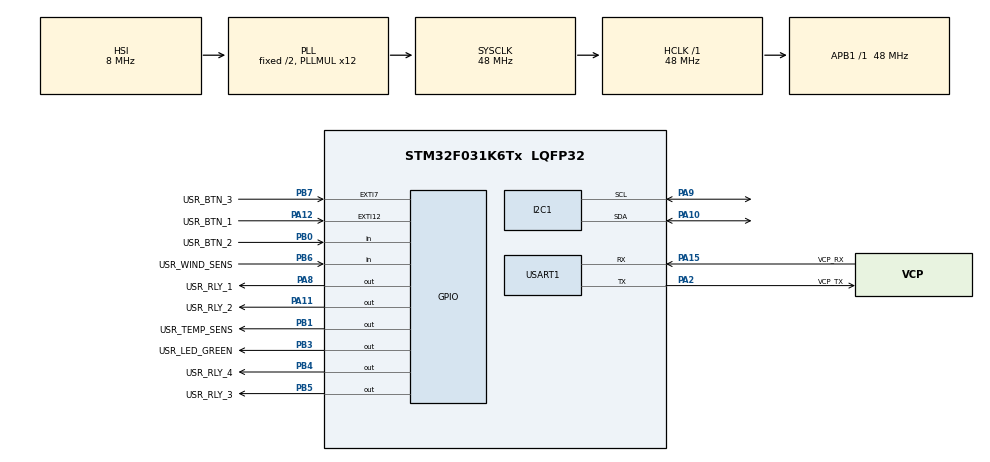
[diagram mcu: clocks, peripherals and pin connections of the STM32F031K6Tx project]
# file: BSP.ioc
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Mcu.Family=STM32F0
Mcu.Name=STM32F031K6Tx
Mcu.Package=LQFP32
NVIC.EXTI4_15_IRQn=true\:0\:0\:false\:false\:true\:true\:true\:true
NVIC.TIM16_IRQn=true\:0\:0\:false\:false\:true\:true\:true\:true
PA10.Mode=I2C
PA10.Signal=I2C1_SDA
PA11.GPIO_Label=USR_RLY_2
PA11.Signal=GPIO_Output
PA12.GPIO_Label=USR_BTN_1
PA12.GPIO_ModeDefaultEXTI=GPIO_MODE_IT_FALLING
PA12.GPIO_PuPd=GPIO_PULLUP
PA12.Signal=GPXTI12
PA13.Mode=Serial_Wire
PA13.Signal=SYS_SWDIO
PA14.Mode=Serial_Wire
PA14.Signal=SYS_SWCLK
PA15.GPIO_Label=VCP_RX
PA15.Mode=Asynchronous
PA15.Signal=USART1_RX
PA2.GPIO_Label=VCP_TX
PA2.Mode=Asynchronous
PA2.Signal=USART1_TX
PA8.GPIO_Label=USR_RLY_1
PA8.GPIO_ModeDefaultOutputPP=GPIO_MODE_OUTPUT_PP
PA8.Signal=GPIO_Output
PA9.Mode=I2C
PA9.Signal=I2C1_SCL
PB0.GPIO_Label=USR_BTN_2
PB0.GPIO_PuPd=GPIO_PULLUP
PB0.Signal=GPIO_Input
PB1.GPIO_Label=USR_TEMP_SENS
PB1.GPIO_PuPd=GPIO_PULLUP
PB1.GPIO_Speed=GPIO_SPEED_FREQ_HIGH
PB1.Signal=GPIO_Output
PB3.GPIO_Label=USR_LED_GREEN
PB3.Signal=GPIO_Output
PB4.GPIO_Label=USR_RLY_4
PB4.Signal=GPIO_Output
PB5.GPIO_Label=USR_RLY_3
PB5.Signal=GPIO_Output
PB6.GPIO_Label=USR_WIND_SENS
PB6.GPIO_PuPd=GPIO_PULLUP
PB6.Signal=GPIO_Input
PB7.GPIO_Label=USR_BTN_3
PB7.GPIO_ModeDefaultEXTI=GPIO_MODE_IT_FALLING
PB7.GPIO_PuPd=GPIO_PULLUP
PB7.Signal=GPXTI7
PF0-OSC_IN.Mode=HSE-External-Clock-Source
PF0-OSC_IN.Signal=RCC_OSC_IN
ProjectManager.HeapSize=0x200
ProjectManager.StackSize=0x400
ProjectManager.TargetToolchain=Makefile
RCC.AHBFreq_Value=48000000
RCC.APB1Freq_Value=48000000
RCC.APB1TimFreq_Value=48000000
RCC.HCLKFreq_Value=48000000
RCC.PLLMUL=RCC_PLL_MUL12
RCC.SYSCLKFreq_VALUE=48000000
RCC.SYSCLKSource=RCC_SYSCLKSOURCE_PLLCLK
TIM16.Period=1000-1
TIM16.Prescaler=48000-1
TIM16.RepetitionCounter=0
USART1.VirtualMode-Asynchronous=VM_ASYNC
VP_TIM16_VS_ClockSourceINT.Mode=Enable_Timer
board=NUCLEO-F031K6

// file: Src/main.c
/* USER CODE BEGIN Header */
/**
  ******************************************************************************
  * @file           : main.c
  * @brief          : Main program body
  ******************************************************************************
  * @attention
  *
  * Copyright (c) 2023 STMicroelectronics.
  * All rights reserved.
  *
  * This software is licensed under terms that can be found in the LICENSE file
  * in the root directory of this software component.
  * If no LICENSE file comes with this software, it is provided AS-IS.
  *
  ******************************************************************************
  */
/* USER CODE END Header */
#include "main.h"

/* USER CODE BEGIN Includes */
#include "application.hpp"
#include <stdio.h>
#include <math.h>
/* USER CODE END Includes */

I2C_HandleTypeDef hi2c1;

TIM_HandleTypeDef htim16;

UART_HandleTypeDef huart1;

/* USER CODE BEGIN PV */

//#define SET_TIME_ENABLE

#ifdef SET_TIME_ENABLE
#define HOURS 12
#define MINUTES 32
#define SECONDS 0
#define YEARS 2023
#define MONTHS 2
#define DAYS 26
#endif

#define M_PI (3.14159265358979323846)  /* pi */
#define TWOPI (M_PI*2)
#define RPD (M_PI/180.)

#define DS3231_I2C_ADDR (0x68U<<1)  /* RTC */
#define GY271_I2C_ADDR (0x0DU<<1)  /* Compass */

// time keeping registers
#define DS3231_TIME_CAL_ADDR        0x00
#define DS3231_ALARM1_ADDR          0x07
#define DS3231_ALARM2_ADDR          0x0B
#define DS3231_CONTROL_ADDR         0x0E
#define DS3231_STATUS_ADDR          0x0F
#define DS3231_AGING_OFFSET_ADDR    0x10
#define DS3231_TEMPERATURE_ADDR     0x11

// control register bits
#define DS3231_CONTROL_A1IE     	0x1		/* Alarm 2 Interrupt Enable */
#define DS3231_CONTROL_A2IE     	0x2		/* Alarm 2 Interrupt Enable */
#define DS3231_CONTROL_INTCN    	0x4		/* Interrupt Control */
#define DS3231_CONTROL_RS1	    	0x8		/* square-wave rate select 2 */
#define DS3231_CONTROL_RS2    		0x10	/* square-wave rate select 2 */
#define DS3231_CONTROL_CONV    		0x20	/* Convert Temperature */
#define DS3231_CONTROL_BBSQW    	0x40	/* Battery-Backed Square-Wave Enable */
#define DS3231_CONTROL_EOSC	    	0x80	/* not Enable Oscillator, 0 equal on */

// status register bits
#define DS3231_STATUS_A1F      		0x01		/* Alarm 1 Flag */
#define DS3231_STATUS_A2F      		0x02		/* Alarm 2 Flag */
#define DS3231_STATUS_BUSY     		0x04		/* device is busy executing TCXO */
#define DS3231_STATUS_EN32KHZ  		0x08		/* Enable 32KHz Output  */
#define DS3231_STATUS_OSF      		0x80		/* Oscillator Stop Flag */

// Compass Data Output Registers
#define GY271_DATA_X_LSB  0x00
#define GY271_DATA_X_MSB  0x01
#define GY271_DATA_Y_LSB  0x02
#define GY271_DATA_Y_MSB  0x03
#define GY271_DATA_Z_LSB  0x04
#define GY271_DATA_Z_MSB  0x05

// Compass Status Register
#define GY271_STATUS_FLAGS  0x06
#define GY271_STATUS_FLAG_DOR (0x01U << 2)
#define GY271_STATUS_FLAG_OVL (0x01U << 1)
#define GY271_STATUS_FLAG_DRDY (0x01U << 0) /* Data Ready Register */

// Compass Control Register
#define GY271_CONTROL_REGISTER_1  0x09
#define GY271_CONTROL_MODE (0x03U << 0) /* 00 standby, 01 cont */
#define GY271_CONTROL_ODR (0x03U << 2) /* 00 10Hz, 01 50Hz, 10 100Hz, 11 200Hz */
#define GY271_CONTROL_RNG (0x03U << 4) /* full scale: 00 2G, 01 8G */
#define GY271_CONTROL_OSR (0x03U << 6) /* over sampling ratio: 00 512, 01 256, 10 128, 11 64 */

#define GY271_CONTROL_REGISTER_2  0x0B

typedef struct ts {
    uint8_t sec;         /* seconds */
    uint8_t min;         /* minutes */
    uint8_t hour;        /* hours */
    uint8_t mday;        /* day of the month */
    uint8_t mon;         /* month */
    int16_t year;        /* year */
    uint8_t wday;        /* day of the week */
    uint8_t yday;        /* day in the year */
    uint8_t isdst;       /* daylight saving time */
    uint8_t year_s;      /* year in short notation*/

}ts;

enum Months {
  JAN,
  FEB,
  MAR,
  APR,
  MAY,
  JUN,
  JUL,
  AUG,
  SEP,
  OCT,
  NOV,
  DEC
};

typedef struct direction {
  int16_t x_dir;
  int16_t y_dir;
  uint8_t angle;
}direction;

// Convert normal decimal numbers to binary coded decimal
uint8_t decToBcd(int val)
{
  return (uint8_t)( (val/10*16) + (val%10) );
}

// Convert binary coded decimal to normal decimal numbers
int bcdToDec(uint8_t val)
{
  return (int)( (val/16*10) + (val%16) );
}

/* function to get the time */
int Get_Time(ts *t)
{
	uint8_t TimeDate[7];        //second,minute,hour,dow,day,month,year
  uint8_t i;
	uint16_t year_full;

	if (HAL_I2C_Mem_Read(&hi2c1, DS3231_I2C_ADDR, DS3231_TIME_CAL_ADDR, 1, TimeDate, 7, 1000) == HAL_OK)
  {
    for (i = 0; i <= 6; i++)
    {
      if (i == 5)
      {
        TimeDate[5] = bcdToDec(TimeDate[i] & 0x1F);
      }
      else
      {
        TimeDate[i] = bcdToDec(TimeDate[i]);
      }
	  }

    year_full = 2000 + TimeDate[6];

    t->sec = TimeDate[0];
    t->min = TimeDate[1];
    t->hour = TimeDate[2];
    t->mday = TimeDate[4];
    t->mon = TimeDate[5];
    t->year = year_full;
    t->wday = TimeDate[3];
    t->year_s = TimeDate[6];

    return 0x01U;
  }
  else
  {
    return 0xFFU;
  }
}

#ifdef SET_TIME_ENABLE
/* function to set the time */
void Set_Time(ts t)
{
    uint8_t i, century;
    century = 0x80;
    t.year_s = t.year - 2000;
    uint8_t TimeDate[7] = { t.sec, t.min, t.hour, t.wday, t.mday, t.mon, t.year_s };

    for (i=0;i<=6;i++)
    	{
    	TimeDate[i] = decToBcd(TimeDate[i]);
    	if(i == 5){TimeDate[5] |= century;}
    	}

    HAL_I2C_Mem_Write(&hi2c1, DS3231_I2C_ADDR, DS3231_TIME_CAL_ADDR, 1, (char*)TimeDate, 7, 1000);
    //i2c_WriteMulti(DS3231_I2C_ADDR,DS3231_TIME_CAL_ADDR,(char*)TimeDate,7);
}
#endif

/* function to set the compass modes */
void Setup_Compass()
{
    uint8_t OSR = 0b00; /* 512 oversampling */
    uint8_t RNG = 0b00; /* 2G full scale */
    uint8_t ODR = 0b00; /* 10Hz */
    uint8_t MODE = 0b01; /* cont */
    uint8_t data[2] = {0, 0};

    HAL_Delay(500);
    data[0] = 0x0A;
    data[1] = 0xC1; /* soft reset */
    HAL_I2C_Master_Transmit(&hi2c1,GY271_I2C_ADDR,data,2,10);

    HAL_Delay(2000);
    data[0] = GY271_CONTROL_REGISTER_2;
    data[1] = 0x01; /* Define Set/Reset period */
    HAL_I2C_Master_Transmit(&hi2c1,GY271_I2C_ADDR,data,2,10);

    HAL_Delay(500);
    data[0] = GY271_CONTROL_REGISTER_1;
    //data[1] = 0x1D;
    data[1] = (OSR<<6) | (RNG<<4) | (ODR<<2) | (MODE<<0);
    HAL_I2C_Master_Transmit(&hi2c1,GY271_I2C_ADDR,data,2,10);
}

/* check if compass data is ready */
int Compass_Data_Ready()
{

  uint8_t reg_val[1];

  if (HAL_I2C_Mem_Read(&hi2c1, GY271_I2C_ADDR, 0x06U, 1, reg_val, 1, 1000) == HAL_OK)
  {
    if (reg_val[0] & GY271_STATUS_FLAG_DRDY)
      return 1;
    else
      return reg_val[0];
  }
  else
    return 0;

}

/* read compass x data */
int Compass_x_read()
{

  uint8_t reg_lsb[1];
  uint16_t lsb;
  uint8_t reg_msb[1];
  uint16_t msb;
  uint32_t buffer;

  HAL_I2C_Mem_Read(&hi2c1, GY271_I2C_ADDR, GY271_DATA_X_LSB, 1, reg_lsb, 1, 1000);
  HAL_I2C_Mem_Read(&hi2c1, GY271_I2C_ADDR, GY271_DATA_X_MSB, 1, reg_msb, 1, 1000);

  lsb = (uint16_t)reg_lsb[0];
  msb = (uint16_t)reg_msb[0];
  msb = msb << 8;
  buffer = (lsb | msb)<<16;

  //buffer = (int)(((0b0000000011111111)&(uint16_t)reg_lsb[0]) | ((0b1111111100000000)&(((uint16_t)reg_msb[0])<<8)));

  return ((int)buffer)>>16;

}

/* read compass y data */
int Compass_y_read()
{

  uint8_t reg_lsb[1];
  uint16_t lsb;
  uint8_t reg_msb[1];
  uint16_t msb;
  uint32_t buffer;

  HAL_I2C_Mem_Read(&hi2c1, GY271_I2C_ADDR, GY271_DATA_Z_LSB, 1, reg_lsb, 1, 1000);
  HAL_I2C_Mem_Read(&hi2c1, GY271_I2C_ADDR, GY271_DATA_Z_MSB, 1, reg_msb, 1, 1000);

  lsb = (uint16_t)reg_lsb[0];
  msb = (uint16_t)reg_msb[0];
  msb = msb << 8;
  buffer = (lsb | msb)<<16;

  //buffer = (int)(((0b0000000011111111)&(uint16_t)reg_lsb[0]) | ((0b1111111100000000)&(((uint16_t)reg_msb[0])<<8)));

  return ((int)buffer)>>16;

}

/* read compass z data */
void Compass_z_read()
{

  uint8_t reg_lsb[1];
  uint8_t reg_msb[1];
  //uint16_t buffer;

  HAL_I2C_Mem_Read(&hi2c1, GY271_I2C_ADDR, GY271_DATA_Y_LSB, 1, reg_lsb, 1, 1000);
  HAL_I2C_Mem_Read(&hi2c1, GY271_I2C_ADDR, GY271_DATA_Y_MSB, 1, reg_msb, 1, 1000);

  //buffer = (((uint16_t)reg_lsb[0]) | (((uint16_t)reg_msb[0])<<8));

  //return buffer;
}

int lastval = 0;

int x_val[10] = {0,0,0,0,0,0,0,0,0,0};
int y_val[10] = {0,0,0,0,0,0,0,0,0,0};
int val_count = 0;

/**
 * C++ version 0.4 char* style "itoa":
 * Written by Lukás Chmela
 * Released under GPLv3.
 */
char* itoa(int value, char* result, int base) {
    // check that the base if valid
    if (base < 2 || base > 36) { *result = '\0'; return result; }

    char* ptr = result, *ptr1 = result, tmp_char;
    int tmp_value;

    do {
        tmp_value = value;
        value /= base;
        *ptr++ = "zyxwvutsrqponmlkjihgfedcba9876543210123456789abcdefghijklmnopqrstuvwxyz" [35 + (tmp_value - value * base)];
    } while ( value );

    // Apply negative sign
    if (tmp_value < 0) *ptr++ = '-';
    *ptr-- = '\0';
    while(ptr1 < ptr) {
        tmp_char = *ptr;
        *ptr--= *ptr1;
        *ptr1++ = tmp_char;
    }
    return result;
}

int read_direction()
{
  int x_dir = 0;
  int y_dir = 0;
  int count = 0;
  double fazi;
  int iazi;
  char msgs[15];

  while(count < 1)
  {
    if(Compass_Data_Ready() == 1)
    {
      //x_dir += (int)((double)((Compass_x_read()) + 33)*1.8181);
      x_dir = Compass_x_read();
      Compass_z_read();
      y_dir = Compass_y_read();
      count++;
      //val_count++;
      //if(val_count > 9) val_count = 0;
    }
  }

  //x_dir = (x_val[0] + x_val[1] + x_val[2] + x_val[3] + x_val[4] + x_val[5] + x_val[6] + x_val[7] + x_val[8] + x_val[9])/10;
  //y_dir = (y_val[0] + y_val[1] + y_val[2] + y_val[3] + y_val[4] + y_val[5] + y_val[6] + y_val[7] + y_val[8] + y_val[9])/10;

      //x_dir = x_dir / 1;
      x_dir = (int)(((double)x_dir + 0.0)*1.0);
      //y_dir = y_dir / 1;
      y_dir = (int)(((double)y_dir - 0.0)*1.0);
      //y_dir = 1000;
      //if (y_dir < lastval) lastval = y_dir;

  //x_dir = Compass_x_read();
  //y_dir = Compass_y_read();
  //Compass_z_read();

  //x_dir = 900;
  //y_dir = 900;

  fazi = atan2((double)y_dir,(double)x_dir) * 180.0/M_PI;
  iazi = (int)(fazi);

  iazi = iazi - 0;
  //iazi = iazi * (-1);

  memset(msgs,0,15);
  itoa(x_dir, msgs, 10);
  HAL_UART_Transmit(&huart1, (unsigned char *)msgs, sizeof(msgs), 1000);
  HAL_UART_Transmit(&huart1, ";", sizeof(";"), 1000);

  memset(msgs,0,15);
  itoa(y_dir, msgs, 10);
  HAL_UART_Transmit(&huart1, (unsigned char *)msgs, sizeof(msgs), 1000);
  HAL_UART_Transmit(&huart1, "\n\r", sizeof("\n\r"), 1000);

  return x_dir;
}

/**
 * Write an integer value to the UART interface.
*/
void write_int_to_uart(char msg[], UART_HandleTypeDef huart1, int value)
{
  itoa(value, msg, 10);
  HAL_UART_Transmit(&huart1, (unsigned char *)msg, sizeof(msg), 1000);
  HAL_UART_Transmit(&huart1, (unsigned char *)"\n", sizeof("\n"), 1000);
}

/* 1 if leap year */
int is_leap_year(int year) {
    if (year % 4 == 0) {
        if (year % 100 == 0) {
            if (year % 400 == 0) {
                return 1;
            } else {
                return 0;
            }
        } else {
            return 1;
        }
    } else {
        return 0;
    }
}

int sun_azimut(int year, int month, int day, int hour, int min)
{
  int delta, leap, feb_days;
  double jd, time, mnlong, mnanom, eclong, qblqec, NUM, den, ra, dec, gmst, lmst, ha, el, az, fhour;
  double lon = 15.60140;
  double lat = 47.07930;

  fhour = (double)hour + ((double)min/60.0);

  if (is_leap_year(year))
    feb_days = 29;
  else
    feb_days = 28;

  switch (month)
  {
    case 1: /* jan */
      day = day;
      break;
    case 2: /* feb */
      day = day + 31;
      break;
    case 3: /* mar */
      day = day + 31 + feb_days;
      break;
    case 4: /* apr */
      day = day + 31 + feb_days + 31;
      break;
    case 5: /* may */
      day = day + 31 + feb_days + 31 + 30;
      break;
    case 6: /* jun */
      day = day + 31 + feb_days + 31 + 30 + 31;
      break;
    case 7: /* jul */
      day = day + 31 + feb_days + 31 + 30 + 31 + 30;
      break;
    case 8: /* aug */
      day = day + 31 + feb_days + 31 + 30 + 31 + 30 + 31;
      break;
    case 9: /* sep */
      day = day + 31 + feb_days + 31 + 30 + 31 + 30 + 31 + 31;
      break;
    case 10: /* oct */
      day = day + 31 + feb_days + 31 + 30 + 31 + 30 + 31 + 31 + 30;
      break;
    case 11:
      day = day + 31 + feb_days + 31 + 30 + 31 + 30 + 31 + 31 + 30 + 31;
      break;
    case 12:
      day = day + 31 + feb_days + 31 + 30 + 31 + 30 + 31 + 31 + 30 + 31 + 30;
      break;
  }

  fhour--;

  delta = year - 1949;
  leap = delta / 4;
  jd = 32916.5 + (delta*365 + leap + day) + fhour / 24.;

  if(((year % 100) == 0) && ((year % 400) != 0))
  {
    jd = jd - 1.;
  }

  time  = jd - 51545.0;

  mnlong = 280.460 + 0.9856474*time;
  mnlong =  fmod(mnlong, 360. );

  if(mnlong < 0.)
  {
    mnlong = mnlong + 360.;
  }

  mnanom = 357.528 + 0.9856003*time;
  mnanom = fmod(mnanom, 360.);

  if(mnanom < 0.)
  {
    mnanom = mnanom + 360.;
  }

  mnanom = mnanom*RPD;

  eclong = mnlong + 1.915*sin( mnanom ) + 0.020*sin( 2.*mnanom );
  eclong = fmod(eclong, 360);

  if( eclong < 0. )
  {
    eclong = eclong + 360.;
  }

  qblqec = 23.439 - 0.0000004*time;
  eclong = eclong*RPD;
  qblqec = qblqec*RPD;

  NUM  = cos( qblqec )*sin( eclong );
  den  = cos( eclong );
  ra   = atan( NUM / den );

  if( den < 0.0 )
  {
    ra  = ra + M_PI;
  }
  else
  {
    if( NUM < 0.0 )
    {
      ra  = ra + TWOPI;
    }
  }

  dec  = asin( sin( qblqec )*sin( eclong ) );

  gmst = 6.697375 + 0.0657098242*time + fhour;
  gmst  =  fmod(gmst , 24.);

  if( gmst < 0. )
  {
    gmst   = gmst + 24.;
  }

  lmst  = gmst + lon / 15.;
  lmst  = fmod( lmst , 24.);

  if( lmst < 0. )
  {
    lmst   = lmst + 24.;
  }

  lmst   = lmst*15.*RPD;

  ha  = lmst - ra;

  if( ha < - M_PI ) ha  = ha + TWOPI;
  if( ha > M_PI )   ha  = ha - TWOPI;

  el  = asin( sin( dec )*sin( lat*RPD ) + cos( dec )*cos( lat*RPD )*cos( ha ) );

  az  = asin( - cos( dec )*sin( ha ) / cos( el ) );

  if( sin( dec ) - sin( el )*sin( lat*RPD ) >= 0. ){
         if( sin(az) < 0.) az  = az + TWOPI;}
      else
         az  = M_PI - az;

  return az / RPD;
}

// double fmod(double a, double b)
// {
//     return a - (round(a / b) * b);
// }

/* USER CODE END PV */

void SystemClock_Config(void);
static void MX_GPIO_Init(void);
static void MX_I2C1_Init(void);
static void MX_USART1_UART_Init(void);
static void MX_TIM16_Init(void);

int main(void)
{
  /* USER CODE BEGIN 1 */
  char msg[15];
  ts ds3231_data;
#ifdef SET_TIME_ENABLE
  ds3231_data.sec = SECONDS;
	ds3231_data.min = MINUTES;
	ds3231_data.hour = HOURS;
	ds3231_data.mday = DAYS;
	ds3231_data.mon = MONTHS;
	ds3231_data.year = YEARS;
#endif

  int az;
  int test = 0;
  uint8_t reg_val;
  uint8_t data[2];
  int16_t temp = -350;
  int temp2;

  temp2 = (int)temp;

  //memset(msg,0,15);

  //az = sun_azimut(2023, 53, 21.0);

  /* USER CODE END 1 */

  /* MCU Configuration--------------------------------------------------------*/

  /* Reset of all peripherals, Initializes the Flash interface and the Systick. */
  HAL_Init();

  /* Configure the system clock */
  SystemClock_Config();

  /* Initialize all configured peripherals */
  MX_GPIO_Init();
  MX_I2C1_Init();
  MX_USART1_UART_Init();
  MX_TIM16_Init();
  /* USER CODE BEGIN 2 */
  setup();
#ifdef SET_TIME_ENABLE
  Set_Time(ds3231_data);
#endif
  Setup_Compass();
  // HAL_Delay(500);
  // //test = HAL_I2C_Mem_Write(&hi2c1, GY271_I2C_ADDR, 0x0BU, 1, 0x01U, 1, 1000);
  // data[0] = 0x0B;
  // data[1] = 0x01;
  // test = HAL_I2C_Master_Transmit(&hi2c1,GY271_I2C_ADDR,data,2,10);
  // HAL_Delay(500);
  // data[0] = 0x09;
  // data[1] = 0x1D;
  // test = HAL_I2C_Master_Transmit(&hi2c1,GY271_I2C_ADDR,data,2,10);
  //HAL_Delay(1000);
  //test = HAL_I2C_Mem_Write(&hi2c1, GY271_I2C_ADDR, 0x09U, 1, 0x1DU, 1, 1000);
  //HAL_Delay(1000);
  //test = HAL_I2C_Mem_Read(&hi2c1, GY271_I2C_ADDR, 0x09U, 1, reg_val, 1, 1000);
  /* USER CODE END 2 */

  /* Infinite loop */
  while (1)
  {

    /* USER CODE BEGIN 3 */
    loop(huart1);
    HAL_Delay(500U);

    if (HAL_I2C_IsDeviceReady(&hi2c1, DS3231_I2C_ADDR, 1, 1000) == HAL_OK)
    {
      // Get_Time(&ds3231_data);
      // HAL_UART_Transmit(&huart1, (unsigned char *)"Current time:", sizeof("Current time:"), 1000);
      // write_int_to_uart(msg, huart1, ds3231_data.hour);
      // write_int_to_uart(msg, huart1, ds3231_data.min);
      // write_int_to_uart(msg, huart1, ds3231_data.sec);
      // HAL_UART_Transmit(&huart1, (unsigned char *)"Current date:", sizeof("Current time:"), 1000);
      // write_int_to_uart(msg, huart1, ds3231_data.mday);
      // write_int_to_uart(msg, huart1, ds3231_data.mon);
      // write_int_to_uart(msg, huart1, ds3231_data.year);
      // az = sun_azimut(ds3231_data.year, ds3231_data.mon, ds3231_data.mday, ds3231_data.hour, ds3231_data.min);
      // HAL_UART_Transmit(&huart1, (unsigned char *)"sun azimut:", sizeof("sun azimut:"), 1000);
      // write_int_to_uart(msg, huart1, (int)az);
      // memset(msg,0,strlen(msg));

      // HAL_UART_Transmit(&huart1, (unsigned char *)"compass:", sizeof("compass:"), 1000);
      // HAL_UART_Transmit(&huart1, (unsigned char *)"\r\n", sizeof("\r\n"), 1000);
      // memset(msg,0,strlen(msg));
      //write_int_to_uart(msg, huart1, read_direction());
      read_direction();
      //memset(msg,0,15);

      //HAL_UART_Transmit(&huart1, (unsigned char *)"\r\n", sizeof("\r\n"), 1000);
      //memset(msg,0,strlen(msg));
    }

  }
  /* USER CODE END 3 */
}

void SystemClock_Config(void)
{
  RCC_OscInitTypeDef RCC_OscInitStruct = {0};
  RCC_ClkInitTypeDef RCC_ClkInitStruct = {0};
  RCC_PeriphCLKInitTypeDef PeriphClkInit = {0};

  /** Initializes the RCC Oscillators according to the specified parameters
  * in the RCC_OscInitTypeDef structure.
  */
  RCC_OscInitStruct.OscillatorType = RCC_OSCILLATORTYPE_HSI;
  RCC_OscInitStruct.HSIState = RCC_HSI_ON;
  RCC_OscInitStruct.HSICalibrationValue = RCC_HSICALIBRATION_DEFAULT;
  RCC_OscInitStruct.PLL.PLLState = RCC_PLL_ON;
  RCC_OscInitStruct.PLL.PLLSource = RCC_PLLSOURCE_HSI;
  RCC_OscInitStruct.PLL.PLLMUL = RCC_PLL_MUL12;
  RCC_OscInitStruct.PLL.PREDIV = RCC_PREDIV_DIV1;
  if (HAL_RCC_OscConfig(&RCC_OscInitStruct) != HAL_OK)
  {
    Error_Handler();
  }

  /** Initializes the CPU, AHB and APB buses clocks
  */
  RCC_ClkInitStruct.ClockType = RCC_CLOCKTYPE_HCLK|RCC_CLOCKTYPE_SYSCLK
                              |RCC_CLOCKTYPE_PCLK1;
  RCC_ClkInitStruct.SYSCLKSource = RCC_SYSCLKSOURCE_PLLCLK;
  RCC_ClkInitStruct.AHBCLKDivider = RCC_SYSCLK_DIV1;
  RCC_ClkInitStruct.APB1CLKDivider = RCC_HCLK_DIV1;

  if (HAL_RCC_ClockConfig(&RCC_ClkInitStruct, FLASH_LATENCY_1) != HAL_OK)
  {
    Error_Handler();
  }
  PeriphClkInit.PeriphClockSelection = RCC_PERIPHCLK_USART1|RCC_PERIPHCLK_I2C1;
  PeriphClkInit.Usart1ClockSelection = RCC_USART1CLKSOURCE_PCLK1;
  PeriphClkInit.I2c1ClockSelection = RCC_I2C1CLKSOURCE_HSI;
  if (HAL_RCCEx_PeriphCLKConfig(&PeriphClkInit) != HAL_OK)
  {
    Error_Handler();
  }
}

static void MX_I2C1_Init(void)
{

  hi2c1.Instance = I2C1;
  hi2c1.Init.Timing = 0x2000090E;
  hi2c1.Init.OwnAddress1 = 0;
  hi2c1.Init.AddressingMode = I2C_ADDRESSINGMODE_7BIT;
  hi2c1.Init.DualAddressMode = I2C_DUALADDRESS_DISABLE;
  hi2c1.Init.OwnAddress2 = 0;
  hi2c1.Init.OwnAddress2Masks = I2C_OA2_NOMASK;
  hi2c1.Init.GeneralCallMode = I2C_GENERALCALL_DISABLE;
  hi2c1.Init.NoStretchMode = I2C_NOSTRETCH_DISABLE;
  if (HAL_I2C_Init(&hi2c1) != HAL_OK)
  {
    Error_Handler();
  }

  /** Configure Analogue filter
  */
  if (HAL_I2CEx_ConfigAnalogFilter(&hi2c1, I2C_ANALOGFILTER_ENABLE) != HAL_OK)
  {
    Error_Handler();
  }

  /** Configure Digital filter
  */
  if (HAL_I2CEx_ConfigDigitalFilter(&hi2c1, 0) != HAL_OK)
  {
    Error_Handler();
  }

}

static void MX_TIM16_Init(void)
{

  htim16.Instance = TIM16;
  htim16.Init.Prescaler = 48000-1;
  htim16.Init.CounterMode = TIM_COUNTERMODE_UP;
  htim16.Init.Period = 1000-1;
  htim16.Init.ClockDivision = TIM_CLOCKDIVISION_DIV1;
  htim16.Init.RepetitionCounter = 0;
  htim16.Init.AutoReloadPreload = TIM_AUTORELOAD_PRELOAD_DISABLE;
  if (HAL_TIM_Base_Init(&htim16) != HAL_OK)
  {
    Error_Handler();
  }

}

static void MX_USART1_UART_Init(void)
{

  huart1.Instance = USART1;
  huart1.Init.BaudRate = 38400;
  huart1.Init.WordLength = UART_WORDLENGTH_8B;
  huart1.Init.StopBits = UART_STOPBITS_1;
  huart1.Init.Parity = UART_PARITY_NONE;
  huart1.Init.Mode = UART_MODE_TX_RX;
  huart1.Init.HwFlowCtl = UART_HWCONTROL_NONE;
  huart1.Init.OverSampling = UART_OVERSAMPLING_16;
  huart1.Init.OneBitSampling = UART_ONE_BIT_SAMPLE_DISABLE;
  huart1.AdvancedInit.AdvFeatureInit = UART_ADVFEATURE_NO_INIT;
  if (HAL_UART_Init(&huart1) != HAL_OK)
  {
    Error_Handler();
  }

}

static void MX_GPIO_Init(void)
{
  GPIO_InitTypeDef GPIO_InitStruct = {0};

  /* GPIO Ports Clock Enable */
  __HAL_RCC_GPIOF_CLK_ENABLE();
  __HAL_RCC_GPIOA_CLK_ENABLE();
  __HAL_RCC_GPIOB_CLK_ENABLE();

  /*Configure GPIO pin Output Level */
  HAL_GPIO_WritePin(GPIOB, USR_TEMP_SENS_Pin|USR_LED_GREEN_Pin|USR_RLY_4_Pin|USR_RLY_3_Pin, GPIO_PIN_RESET);

  /*Configure GPIO pin Output Level */
  HAL_GPIO_WritePin(GPIOA, USR_RLY_1_Pin|USR_RLY_2_Pin, GPIO_PIN_RESET);

  /*Configure GPIO pins : USR_BTN_2_Pin USR_WIND_SENS_Pin */
  GPIO_InitStruct.Pin = USR_BTN_2_Pin|USR_WIND_SENS_Pin;
  GPIO_InitStruct.Mode = GPIO_MODE_INPUT;
  GPIO_InitStruct.Pull = GPIO_PULLUP;
  HAL_GPIO_Init(GPIOB, &GPIO_InitStruct);

  /*Configure GPIO pin : USR_TEMP_SENS_Pin */
  GPIO_InitStruct.Pin = USR_TEMP_SENS_Pin;
  GPIO_InitStruct.Mode = GPIO_MODE_OUTPUT_PP;
  GPIO_InitStruct.Pull = GPIO_PULLUP;
  GPIO_InitStruct.Speed = GPIO_SPEED_FREQ_HIGH;
  HAL_GPIO_Init(USR_TEMP_SENS_GPIO_Port, &GPIO_InitStruct);

  /*Configure GPIO pins : USR_RLY_1_Pin USR_RLY_2_Pin */
  GPIO_InitStruct.Pin = USR_RLY_1_Pin|USR_RLY_2_Pin;
  GPIO_InitStruct.Mode = GPIO_MODE_OUTPUT_PP;
  GPIO_InitStruct.Pull = GPIO_NOPULL;
  GPIO_InitStruct.Speed = GPIO_SPEED_FREQ_LOW;
  HAL_GPIO_Init(GPIOA, &GPIO_InitStruct);

  /*Configure GPIO pin : USR_BTN_1_Pin */
  GPIO_InitStruct.Pin = USR_BTN_1_Pin;
  GPIO_InitStruct.Mode = GPIO_MODE_IT_FALLING;
  GPIO_InitStruct.Pull = GPIO_PULLUP;
  HAL_GPIO_Init(USR_BTN_1_GPIO_Port, &GPIO_InitStruct);

  /*Configure GPIO pins : USR_LED_GREEN_Pin USR_RLY_4_Pin USR_RLY_3_Pin */
  GPIO_InitStruct.Pin = USR_LED_GREEN_Pin|USR_RLY_4_Pin|USR_RLY_3_Pin;
  GPIO_InitStruct.Mode = GPIO_MODE_OUTPUT_PP;
  GPIO_InitStruct.Pull = GPIO_NOPULL;
  GPIO_InitStruct.Speed = GPIO_SPEED_FREQ_LOW;
  HAL_GPIO_Init(GPIOB, &GPIO_InitStruct);

  /*Configure GPIO pin : USR_BTN_3_Pin */
  GPIO_InitStruct.Pin = USR_BTN_3_Pin;
  GPIO_InitStruct.Mode = GPIO_MODE_IT_FALLING;
  GPIO_InitStruct.Pull = GPIO_PULLUP;
  HAL_GPIO_Init(USR_BTN_3_GPIO_Port, &GPIO_InitStruct);

  /* EXTI interrupt init*/
  HAL_NVIC_SetPriority(EXTI4_15_IRQn, 0, 0);
  HAL_NVIC_EnableIRQ(EXTI4_15_IRQn);

}

void Error_Handler(void)
{
  __disable_irq();
  while (1)
  {
  }
}
